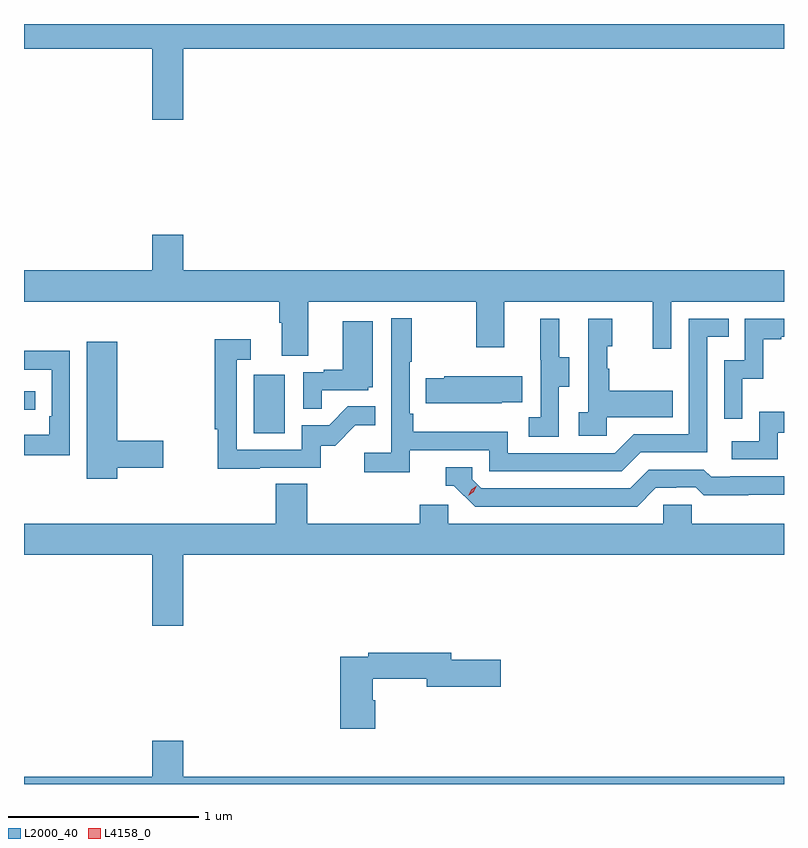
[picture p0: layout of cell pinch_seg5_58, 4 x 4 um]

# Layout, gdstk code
import gdstk
lib = gdstk.Library(unit=1e-6, precision=1e-09)
def R(c, l, rs):  # rectangles x0, y0, x1, y1
    for r in rs: c.add(gdstk.rectangle(r[:2], r[2:], *l))
def P(c, l, *ps):  # polygons
    for p in ps: c.add(gdstk.Polygon(p, *l))
L2000_40 = (2000, 40)
L4158_0 = (4158, 0)

pinch_seg5_58 = lib.new_cell('pinch_seg5_58')
R(pinch_seg5_58, L2000_40, [(1016.69,904.02,1016.854,904.327), (1015.481,904.143,1015.54,904.239)])
P(pinch_seg5_58, L2000_40, [(1016.32,906.044),(1019.481,906.044),(1019.481,906.173),(1015.481,906.173),(1015.481,906.044),(1016.156,906.044),(1016.156,905.67),(1016.32,905.67)],
  [(1016.977,904.712),(1017.862,904.712),(1017.862,904.473),(1018.009,904.473),(1018.009,904.712),(1018.79,904.712),(1018.79,904.464),(1018.887,904.464),(1018.887,904.712),(1019.481,904.712),(1019.481,904.876),(1016.32,904.876),(1016.32,905.065),(1016.156,905.065),(1016.156,904.876),(1015.481,904.876),(1015.481,904.712),(1016.825,904.712),(1016.825,904.6),(1016.837,904.6),(1016.837,904.426),(1016.977,904.426)],
  [(1017.512,903.93),(1017.93,903.93),(1017.93,903.819),(1018.627,903.819),(1018.726,903.918),(1019.076,903.918),(1019.076,904.527),(1019.189,904.527),(1019.189,904.623),(1018.98,904.623),(1018.98,904.014),(1018.689,904.014),(1018.59,903.915),(1018.026,903.915),(1018.026,904.027),(1017.53,904.027),(1017.53,904.123),(1017.51,904.123),(1017.51,904.396),(1017.523,904.396),(1017.523,904.624),(1017.414,904.624),(1017.414,903.916),(1017.273,903.916),(1017.273,903.814),(1017.512,903.814)],
  [(1019.262,904.307),(1019.372,904.307),(1019.372,904.515),(1019.467,904.515),(1019.467,904.527),(1019.481,904.527),(1019.481,904.623),(1019.274,904.623),(1019.274,904.404),(1019.166,904.404),(1019.166,904.095),(1019.262,904.095)],
  [(1018.296,904.264),(1018.351,904.264),(1018.351,904.419),(1018.297,904.419),(1018.297,904.621),(1018.199,904.621),(1018.199,904.407),(1018.2,904.407),(1018.2,904.103),(1018.137,904.103),(1018.137,904),(1018.296,904)],
  [(1018.548,904.103),(1018.895,904.103),(1018.895,904.243),(1018.561,904.243),(1018.561,904.358),(1018.551,904.358),(1018.551,904.476),(1018.576,904.476),(1018.576,904.621),(1018.452,904.621),(1018.452,904.13),(1018.401,904.13),(1018.401,904.005),(1018.548,904.005)],
  [(1017.047,904.245),(1017.294,904.245),(1017.294,904.26),(1017.316,904.26),(1017.316,904.609),(1017.158,904.609),(1017.158,904.354),(1017.059,904.354),(1017.059,904.341),(1016.952,904.341),(1016.952,904.147),(1017.047,904.147)],
  [(1016.723,903.837),(1017.042,903.837),(1017.042,903.954),(1017.118,903.954),(1017.225,904.061),(1017.329,904.061),(1017.329,904.16),(1017.185,904.16),(1017.087,904.062),(1016.943,904.062),(1016.943,903.933),(1016.601,903.933),(1016.601,904.407),(1016.674,904.407),(1016.674,904.513),(1016.485,904.513),(1016.485,904.04),(1016.5,904.04),(1016.5,903.832),(1016.723,903.832)],
  [(1015.972,903.838),(1016.215,903.838),(1016.215,903.98),(1015.972,903.98),(1015.972,904.501),(1015.811,904.501),(1015.811,903.78),(1015.972,903.78)],
  [(1015.722,904.454),(1015.481,904.454),(1015.481,904.353),(1015.626,904.353),(1015.626,904.108),(1015.613,904.108),(1015.613,904.012),(1015.481,904.012),(1015.481,903.903),(1015.722,903.903)],
  [(1017.995,904.181),(1018.103,904.181),(1018.103,904.318),(1017.693,904.318),(1017.693,904.308),(1017.595,904.308),(1017.595,904.178),(1017.995,904.178)],
  [(1019.448,904.023),(1019.481,904.023),(1019.481,904.132),(1019.352,904.132),(1019.352,903.978),(1019.205,903.978),(1019.205,903.882),(1019.448,903.882)],
  [(1018.807,903.732),(1018.914,903.732),(1018.914,903.735),(1019.017,903.735),(1019.059,903.693),(1019.292,903.693),(1019.292,903.695),(1019.481,903.695),(1019.481,903.792),(1019.197,903.792),(1019.197,903.789),(1019.098,903.789),(1019.059,903.828),(1018.77,903.828),(1018.671,903.729),(1017.888,903.729),(1017.84,903.777),(1017.84,903.84),(1017.701,903.84),(1017.701,903.744),(1017.744,903.744),(1017.855,903.633),(1018.708,903.633)],
  [(1016.32,903.38),(1019.481,903.38),(1019.481,903.544),(1018.995,903.544),(1018.995,903.642),(1018.845,903.642),(1018.845,903.544),(1017.714,903.544),(1017.714,903.642),(1017.563,903.642),(1017.563,903.544),(1016.972,903.544),(1016.972,903.752),(1016.807,903.752),(1016.807,903.544),(1015.481,903.544),(1015.481,903.38),(1016.156,903.38),(1016.156,903.006),(1016.32,903.006)],
  [(1017.329,902.613),(1017.316,902.613),(1017.316,902.728),(1017.602,902.728),(1017.602,902.686),(1017.991,902.686),(1017.991,902.828),(1017.73,902.828),(1017.73,902.864),(1017.292,902.864),(1017.292,902.844),(1017.146,902.844),(1017.146,902.463),(1017.329,902.463)],
  [(1019.481,902.212),(1016.32,902.212),(1016.32,902.401),(1016.156,902.401),(1016.156,902.212),(1015.481,902.212),(1015.481,902.173),(1019.481,902.173)])
P(pinch_seg5_58, L4158_0, [(1017.818,903.69),(1017.818,903.69),(1017.834,903.723),(1017.864,903.743),(1017.864,903.743),(1017.864,903.742),(1017.848,903.71),(1017.818,903.69)])

lib.write_gds('pinch_seg5_58.gds')
